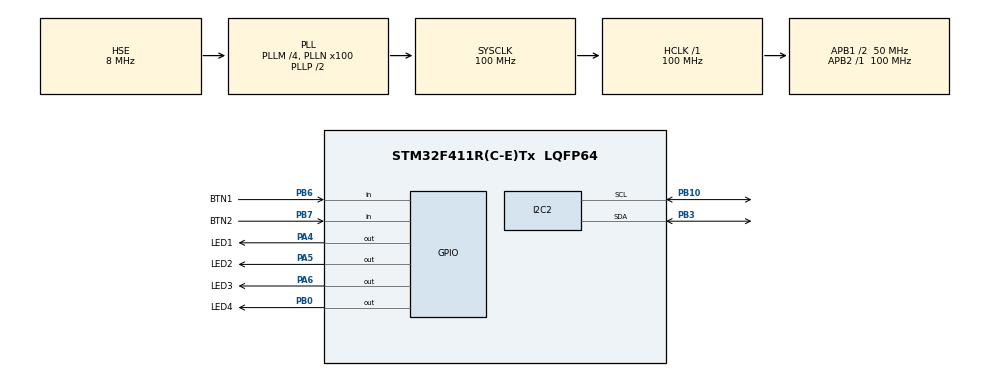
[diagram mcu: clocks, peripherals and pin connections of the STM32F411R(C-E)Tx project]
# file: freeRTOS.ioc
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Dma.I2C2_TX.0.Direction=DMA_MEMORY_TO_PERIPH
Dma.I2C2_TX.0.FIFOMode=DMA_FIFOMODE_DISABLE
Dma.I2C2_TX.0.Instance=DMA1_Stream7
Dma.I2C2_TX.0.MemDataAlignment=DMA_MDATAALIGN_BYTE
Dma.I2C2_TX.0.MemInc=DMA_MINC_ENABLE
Dma.I2C2_TX.0.Mode=DMA_NORMAL
Dma.I2C2_TX.0.PeriphDataAlignment=DMA_PDATAALIGN_BYTE
Dma.I2C2_TX.0.PeriphInc=DMA_PINC_DISABLE
Dma.I2C2_TX.0.Priority=DMA_PRIORITY_LOW
Dma.Request0=I2C2_TX
FREERTOS.INCLUDE_vTaskDelete=1
FREERTOS.Queues01=myQueueBtn,8,uint8_t,0,Dynamic,NULL,NULL
FREERTOS.Tasks01=defaultTask,24,128,StartDefaultTask,Default,NULL,Dynamic,NULL,NULL;myTaskLed500,16,128,StartTaskLed500,Default,NULL,Dynamic,NULL,NULL;myTaskLed250,16,128,StartTaskLed250,Default,NULL,Dynamic,NULL,NULL;myTaskLed100,16,128,StartTaskLed100,Default,NULL,Dynamic,NULL,NULL;myTaskDisplay,16,128,StartTaskDisplay,Default,NULL,Dynamic,NULL,NULL
FREERTOS.Timers01=myTimerMinutes,tmrMinutes,osTimerPeriodic,Default,NULL,Dynamic,NULL;myTimerDisplaySaver,tmrDisplaySaver,osTimerPeriodic,Default,NULL,Dynamic,NULL;myTimerBtnScan,tmrBtnScan,osTimerPeriodic,Default,NULL,Dynamic,NULL
FREERTOS.configENABLE_FPU=1
FREERTOS.configGENERATE_RUN_TIME_STATS=1
FREERTOS.configUSE_IDLE_HOOK=1
FREERTOS.configUSE_STATS_FORMATTING_FUNCTIONS=1
FREERTOS.configUSE_TICK_HOOK=1
Mcu.Family=STM32F4
Mcu.Name=STM32F411R(C-E)Tx
Mcu.Package=LQFP64
NVIC.DMA1_Stream7_IRQn=true\:5\:0\:false\:false\:true\:true\:false\:true\:true
NVIC.I2C2_ER_IRQn=true\:5\:0\:false\:false\:true\:true\:true\:true\:true
NVIC.I2C2_EV_IRQn=true\:5\:0\:false\:false\:true\:true\:true\:true\:true
NVIC.PriorityGroup=NVIC_PRIORITYGROUP_4
NVIC.TIM1_TRG_COM_TIM11_IRQn=true\:15\:0\:false\:false\:true\:false\:false\:true\:true
NVIC.TimeBase=TIM1_TRG_COM_TIM11_IRQn
NVIC.TimeBaseIP=TIM11
PA13.Mode=Serial_Wire
PA13.Signal=SYS_JTMS-SWDIO
PA14.Mode=Serial_Wire
PA14.Signal=SYS_JTCK-SWCLK
PA4.GPIO_Label=LED1
PA4.Signal=GPIO_Output
PA5.GPIO_Label=LED2
PA5.Signal=GPIO_Output
PA6.GPIO_Label=LED3
PA6.Signal=GPIO_Output
PB0.GPIO_Label=LED4
PB0.Signal=GPIO_Output
PB10.Mode=I2C
PB10.Signal=I2C2_SCL
PB3.Mode=I2C
PB3.Signal=I2C2_SDA
PB6.GPIO_Label=BTN1
PB6.Signal=GPIO_Input
PB7.GPIO_Label=BTN2
PB7.Signal=GPIO_Input
PC14-OSC32_IN.Mode=LSE-External-Oscillator
PC14-OSC32_IN.Signal=RCC_OSC32_IN
PC15-OSC32_OUT.Mode=LSE-External-Oscillator
PC15-OSC32_OUT.Signal=RCC_OSC32_OUT
PH0\ -\ OSC_IN.Mode=HSE-External-Oscillator
PH0\ -\ OSC_IN.Signal=RCC_OSC_IN
PH1\ -\ OSC_OUT.Mode=HSE-External-Oscillator
PH1\ -\ OSC_OUT.Signal=RCC_OSC_OUT
ProjectManager.HeapSize=0x200
ProjectManager.StackSize=0x400
ProjectManager.TargetToolchain=EWARM V8.50
RCC.48MHZClocksFreq_Value=50000000
RCC.AHBFreq_Value=100000000
RCC.APB1CLKDivider=RCC_HCLK_DIV2
RCC.APB1Freq_Value=50000000
RCC.APB1TimFreq_Value=100000000
RCC.APB2Freq_Value=100000000
RCC.APB2TimFreq_Value=100000000
RCC.CortexFreq_Value=100000000
RCC.EnbaleCSS=true
RCC.HCLKFreq_Value=100000000
RCC.HSE_VALUE=8000000
RCC.HSI_VALUE=16000000
RCC.PLLM=4
RCC.PLLN=100
RCC.PLLSourceVirtual=RCC_PLLSOURCE_HSE
RCC.RCC_RTC_Clock_Source=RCC_RTCCLKSOURCE_LSE
RCC.RCC_RTC_Clock_SourceVirtual=RCC_RTCCLKSOURCE_LSE
RCC.SYSCLKFreq_VALUE=100000000
RCC.SYSCLKSource=RCC_SYSCLKSOURCE_PLLCLK
RCC.VCOOutputFreq_Value=200000000
RTC.Format=RTC_FORMAT_BIN
VP_FREERTOS_VS_CMSIS_V2.Mode=CMSIS_V2
VP_RTC_VS_RTC_Activate.Mode=RTC_Enabled
VP_RTC_VS_RTC_Calendar.Mode=RTC_Calendar
VP_SYS_VS_tim11.Mode=TIM11
board=custom

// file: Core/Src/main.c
/* USER CODE BEGIN Header */
/**
  ******************************************************************************
  * @file           : main.c
  * @brief          : Main program body
  ******************************************************************************
  * @attention
  *
  * Copyright (c) 2022 STMicroelectronics.
  * All rights reserved.
  *
  * This software is licensed under terms that can be found in the LICENSE file
  * in the root directory of this software component.
  * If no LICENSE file comes with this software, it is provided AS-IS.
  *
  ******************************************************************************
  */
/* USER CODE END Header */
#include "main.h"
#include "cmsis_os.h"

/* USER CODE BEGIN Includes */
#include <stdio.h>	        // ф-ии ввода вывода
#include <string.h> 	        // для работы со строками
#include <math.h>	        // для работы с математическими функциями
#include "SEGGER_RTT.h"	        // библиотека для отладочного RTT вывода через интерфейс отладчика
#include "oled_ssd1306.h"       // драйвер для дисплея SSD1306
#include "gfx_bw.h"             // графическая библиотека для дисплея
#include "fonts.h"              // библиотека преобразования шрифтов в битмап
#include "picture.h"            // для вывода изображений из массивов на дисплей

#include "queue.h"              // работа с очередями freeRTOS
/* USER CODE END Includes */

I2C_HandleTypeDef hi2c2;
DMA_HandleTypeDef hdma_i2c2_tx;

RTC_HandleTypeDef hrtc;

/* Definitions for defaultTask */
osThreadId_t defaultTaskHandle;
const osThreadAttr_t defaultTask_attributes = {
  .name = "defaultTask",
  .stack_size = 128 * 4,
  .priority = (osPriority_t) osPriorityNormal,
};
/* Definitions for myTaskLed500 */
osThreadId_t myTaskLed500Handle;
const osThreadAttr_t myTaskLed500_attributes = {
  .name = "myTaskLed500",
  .stack_size = 128 * 4,
  .priority = (osPriority_t) osPriorityBelowNormal,
};
/* Definitions for myTaskLed250 */
osThreadId_t myTaskLed250Handle;
const osThreadAttr_t myTaskLed250_attributes = {
  .name = "myTaskLed250",
  .stack_size = 128 * 4,
  .priority = (osPriority_t) osPriorityBelowNormal,
};
/* Definitions for myTaskLed100 */
osThreadId_t myTaskLed100Handle;
const osThreadAttr_t myTaskLed100_attributes = {
  .name = "myTaskLed100",
  .stack_size = 128 * 4,
  .priority = (osPriority_t) osPriorityBelowNormal,
};
/* Definitions for myTaskDisplay */
osThreadId_t myTaskDisplayHandle;
const osThreadAttr_t myTaskDisplay_attributes = {
  .name = "myTaskDisplay",
  .stack_size = 128 * 4,
  .priority = (osPriority_t) osPriorityBelowNormal,
};
/* Definitions for myQueueBtn */
osMessageQueueId_t myQueueBtnHandle;
const osMessageQueueAttr_t myQueueBtn_attributes = {
  .name = "myQueueBtn"
};
/* Definitions for myTimerMinutes */
osTimerId_t myTimerMinutesHandle;
const osTimerAttr_t myTimerMinutes_attributes = {
  .name = "myTimerMinutes"
};
/* Definitions for myTimerDisplaySaver */
osTimerId_t myTimerDisplaySaverHandle;
const osTimerAttr_t myTimerDisplaySaver_attributes = {
  .name = "myTimerDisplaySaver"
};
/* Definitions for myTimerBtnScan */
osTimerId_t myTimerBtnScanHandle;
const osTimerAttr_t myTimerBtnScan_attributes = {
  .name = "myTimerBtnScan"
};
/* USER CODE BEGIN PV */
RTC_TimeTypeDef sTime = {0};
RTC_DateTypeDef sDate = {0};

char vTaskListBuf[1024]; // буфер для диспетчера задач
/* USER CODE END PV */

void SystemClock_Config(void);
static void MX_GPIO_Init(void);
static void MX_DMA_Init(void);
static void MX_RTC_Init(void);
static void MX_I2C2_Init(void);
void StartDefaultTask(void *argument);
void StartTaskLed500(void *argument);
void StartTaskLed250(void *argument);
void StartTaskLed100(void *argument);
void StartTaskDisplay(void *argument);
void tmrMinutes(void *argument);
void tmrDisplaySaver(void *argument);
void tmrBtnScan(void *argument);

/* USER CODE BEGIN 0 */
void initOled() // инициализация дисплея SSD1306
{
        // инициализация OLED дисплея
        SSD1306_I2cInit(&hi2c2);
        GFX_SetFont(font_7x5);
        GFX_SetFontSize(1);
        //SSD1306_StartScrollLeftUp(0, 7, SCROLL_EVERY_256_FRAMES, 1);
        //SSD1306_StartScrollLeft(0, 7, SCROLL_EVERY_4_FRAMES);
        //SSD1306_StartBlinking(1); // красивая плавная моргалка яркостью. но уже заебала
        //SSD1306_StartFadeOut(1);
        //SSD1306_ZoomIn(1);
        //SSD1306_InvertColors(1);
        //SSD1306_RotateDisplay(0);
        SSD1306_Clear(BLACK);
        SSD1306_Bitmap((uint8_t*)picture);
        /*
        // прогрессбар
        GFX_DrawRoundRectangle(32, 16, 60, 10, 5, WHITE);
        GFX_DrawFillRoundRectangle(32, 16, 30, 10, 5, WHITE);
        // простая надпись
        GFX_DrawString(19,0, "(c) RusikOk", WHITE, BLACK);
        SSD1306_Display();
        */
}
/* USER CODE END 0 */

int main(void)
{

  /* MCU Configuration--------------------------------------------------------*/

  /* Reset of all peripherals, Initializes the Flash interface and the Systick. */
  HAL_Init();

  /* Configure the system clock */
  SystemClock_Config();

  /* Initialize all configured peripherals */
  MX_GPIO_Init();
  MX_DMA_Init();
  MX_RTC_Init();
  MX_I2C2_Init();
  /* USER CODE BEGIN 2 */
        /* ************************************************************************ */
	/* инициализация 						  	    */
	/* ************************************************************************ */
        LOG_START();
        LOGT("\r\n\r\n");
        LOGT(" __________________________________________________\r\n");
        LOGT("(  )                                            (  )\r\n");
        LOGT(" )(   ____  __   __  ____  __  ___ __ _ __  ___  )(\r\n");
        LOGT("(  ) (  _ \\(  ) (  )(  __)(  )(  /(  ) (  )(  / (  )\r\n");
        LOGT(" )(   )   / )(   )(  )_ (  )(  )(  )(   )(  )(   )(\r\n");
        LOGT("(  ) (_)\\_)(__)_(__)(____)(__)(__\\(__)_(__)(__\\ (  )\r\n");
        LOGT(" )(                                              )(\r\n");
        LOGT("(__)____________________________________________(__)\r\n\r\n");
        LOGT("      Compiled version: " __TIME__ " " __DATE__ "\r\n\r\n");

        initOled(); // инициализация OLED дисплея SSD1306
  /* USER CODE END 2 */

  /* Init scheduler */
  osKernelInitialize();

  /* Create the timer(s) */
  /* creation of myTimerMinutes */
  myTimerMinutesHandle = osTimerNew(tmrMinutes, osTimerPeriodic, NULL, &myTimerMinutes_attributes);

  /* creation of myTimerDisplaySaver */
  myTimerDisplaySaverHandle = osTimerNew(tmrDisplaySaver, osTimerPeriodic, NULL, &myTimerDisplaySaver_attributes);

  /* creation of myTimerBtnScan */
  myTimerBtnScanHandle = osTimerNew(tmrBtnScan, osTimerPeriodic, NULL, &myTimerBtnScan_attributes);

  /* USER CODE BEGIN RTOS_TIMERS */
  /* start timers, add new ones, ... */
  // выставляем периодичность работы таймеров и запускаем их (на самом деле таймеры запустяться после старта шедуллера)
  osTimerStart(myTimerMinutesHandle, 60 * 1000 / portTICK_RATE_MS); // выполнение раз в минуту
  osTimerStart(myTimerDisplaySaverHandle, displaySaverINTERVAL); // выполнение раз в X минут
  osTimerStart(myTimerBtnScanHandle, 10); // выполнение каждые 10 тиков ОС
  /* USER CODE END RTOS_TIMERS */

  /* Create the queue(s) */
  /* creation of myQueueBtn */
  myQueueBtnHandle = osMessageQueueNew (8, sizeof(uint8_t), &myQueueBtn_attributes);

  /* Create the thread(s) */
  /* creation of defaultTask */
  defaultTaskHandle = osThreadNew(StartDefaultTask, NULL, &defaultTask_attributes);

  /* creation of myTaskLed500 */
  myTaskLed500Handle = osThreadNew(StartTaskLed500, NULL, &myTaskLed500_attributes);

  /* creation of myTaskLed250 */
  myTaskLed250Handle = osThreadNew(StartTaskLed250, NULL, &myTaskLed250_attributes);

  /* creation of myTaskLed100 */
  myTaskLed100Handle = osThreadNew(StartTaskLed100, NULL, &myTaskLed100_attributes);

  /* creation of myTaskDisplay */
  myTaskDisplayHandle = osThreadNew(StartTaskDisplay, NULL, &myTaskDisplay_attributes);

  /* Start scheduler */
  osKernelStart();

  /* We should never get here as control is now taken by the scheduler */
  /* Infinite loop */
  while (1)
  {

  }
}

void SystemClock_Config(void)
{
  RCC_OscInitTypeDef RCC_OscInitStruct = {0};
  RCC_ClkInitTypeDef RCC_ClkInitStruct = {0};

  /** Configure the main internal regulator output voltage
  */
  __HAL_RCC_PWR_CLK_ENABLE();
  __HAL_PWR_VOLTAGESCALING_CONFIG(PWR_REGULATOR_VOLTAGE_SCALE1);

  /** Initializes the RCC Oscillators according to the specified parameters
  * in the RCC_OscInitTypeDef structure.
  */
  RCC_OscInitStruct.OscillatorType = RCC_OSCILLATORTYPE_HSE|RCC_OSCILLATORTYPE_LSE;
  RCC_OscInitStruct.HSEState = RCC_HSE_ON;
  RCC_OscInitStruct.LSEState = RCC_LSE_ON;
  RCC_OscInitStruct.PLL.PLLState = RCC_PLL_ON;
  RCC_OscInitStruct.PLL.PLLSource = RCC_PLLSOURCE_HSE;
  RCC_OscInitStruct.PLL.PLLM = 4;
  RCC_OscInitStruct.PLL.PLLN = 100;
  RCC_OscInitStruct.PLL.PLLP = RCC_PLLP_DIV2;
  RCC_OscInitStruct.PLL.PLLQ = 4;
  if (HAL_RCC_OscConfig(&RCC_OscInitStruct) != HAL_OK)
  {
    Error_Handler();
  }

  /** Initializes the CPU, AHB and APB buses clocks
  */
  RCC_ClkInitStruct.ClockType = RCC_CLOCKTYPE_HCLK|RCC_CLOCKTYPE_SYSCLK
                              |RCC_CLOCKTYPE_PCLK1|RCC_CLOCKTYPE_PCLK2;
  RCC_ClkInitStruct.SYSCLKSource = RCC_SYSCLKSOURCE_PLLCLK;
  RCC_ClkInitStruct.AHBCLKDivider = RCC_SYSCLK_DIV1;
  RCC_ClkInitStruct.APB1CLKDivider = RCC_HCLK_DIV2;
  RCC_ClkInitStruct.APB2CLKDivider = RCC_HCLK_DIV1;

  if (HAL_RCC_ClockConfig(&RCC_ClkInitStruct, FLASH_LATENCY_3) != HAL_OK)
  {
    Error_Handler();
  }

  /** Enables the Clock Security System
  */
  HAL_RCC_EnableCSS();
}

static void MX_I2C2_Init(void)
{

  hi2c2.Instance = I2C2;
  hi2c2.Init.ClockSpeed = 100000;
  hi2c2.Init.DutyCycle = I2C_DUTYCYCLE_2;
  hi2c2.Init.OwnAddress1 = 0;
  hi2c2.Init.AddressingMode = I2C_ADDRESSINGMODE_7BIT;
  hi2c2.Init.DualAddressMode = I2C_DUALADDRESS_DISABLE;
  hi2c2.Init.OwnAddress2 = 0;
  hi2c2.Init.GeneralCallMode = I2C_GENERALCALL_DISABLE;
  hi2c2.Init.NoStretchMode = I2C_NOSTRETCH_DISABLE;
  if (HAL_I2C_Init(&hi2c2) != HAL_OK)
  {
    Error_Handler();
  }

}

static void MX_RTC_Init(void)
{

  RTC_TimeTypeDef sTime = {0};
  RTC_DateTypeDef sDate = {0};

  /** Initialize RTC Only
  */
  hrtc.Instance = RTC;
  hrtc.Init.HourFormat = RTC_HOURFORMAT_24;
  hrtc.Init.AsynchPrediv = 127;
  hrtc.Init.SynchPrediv = 255;
  hrtc.Init.OutPut = RTC_OUTPUT_DISABLE;
  hrtc.Init.OutPutPolarity = RTC_OUTPUT_POLARITY_HIGH;
  hrtc.Init.OutPutType = RTC_OUTPUT_TYPE_OPENDRAIN;
  if (HAL_RTC_Init(&hrtc) != HAL_OK)
  {
    Error_Handler();
  }

  /** Initialize RTC and set the Time and Date
  */
  sTime.Hours = 0;
  sTime.Minutes = 0;
  sTime.Seconds = 0;
  sTime.DayLightSaving = RTC_DAYLIGHTSAVING_NONE;
  sTime.StoreOperation = RTC_STOREOPERATION_RESET;
  if (HAL_RTC_SetTime(&hrtc, &sTime, RTC_FORMAT_BIN) != HAL_OK)
  {
    Error_Handler();
  }
  sDate.WeekDay = RTC_WEEKDAY_MONDAY;
  sDate.Month = RTC_MONTH_JANUARY;
  sDate.Date = 1;
  sDate.Year = 0;

  if (HAL_RTC_SetDate(&hrtc, &sDate, RTC_FORMAT_BIN) != HAL_OK)
  {
    Error_Handler();
  }

}

static void MX_DMA_Init(void)
{

  /* DMA controller clock enable */
  __HAL_RCC_DMA1_CLK_ENABLE();

  /* DMA interrupt init */
  /* DMA1_Stream7_IRQn interrupt configuration */
  HAL_NVIC_SetPriority(DMA1_Stream7_IRQn, 5, 0);
  HAL_NVIC_EnableIRQ(DMA1_Stream7_IRQn);

}

static void MX_GPIO_Init(void)
{
  GPIO_InitTypeDef GPIO_InitStruct = {0};

  /* GPIO Ports Clock Enable */
  __HAL_RCC_GPIOC_CLK_ENABLE();
  __HAL_RCC_GPIOH_CLK_ENABLE();
  __HAL_RCC_GPIOA_CLK_ENABLE();
  __HAL_RCC_GPIOB_CLK_ENABLE();

  /*Configure GPIO pin Output Level */
  HAL_GPIO_WritePin(GPIOA, LED1_Pin|LED2_Pin|LED3_Pin, GPIO_PIN_RESET);

  /*Configure GPIO pin Output Level */
  HAL_GPIO_WritePin(LED4_GPIO_Port, LED4_Pin, GPIO_PIN_RESET);

  /*Configure GPIO pins : LED1_Pin LED2_Pin LED3_Pin */
  GPIO_InitStruct.Pin = LED1_Pin|LED2_Pin|LED3_Pin;
  GPIO_InitStruct.Mode = GPIO_MODE_OUTPUT_PP;
  GPIO_InitStruct.Pull = GPIO_NOPULL;
  GPIO_InitStruct.Speed = GPIO_SPEED_FREQ_LOW;
  HAL_GPIO_Init(GPIOA, &GPIO_InitStruct);

  /*Configure GPIO pin : LED4_Pin */
  GPIO_InitStruct.Pin = LED4_Pin;
  GPIO_InitStruct.Mode = GPIO_MODE_OUTPUT_PP;
  GPIO_InitStruct.Pull = GPIO_NOPULL;
  GPIO_InitStruct.Speed = GPIO_SPEED_FREQ_LOW;
  HAL_GPIO_Init(LED4_GPIO_Port, &GPIO_InitStruct);

  /*Configure GPIO pins : BTN1_Pin BTN2_Pin */
  GPIO_InitStruct.Pin = BTN1_Pin|BTN2_Pin;
  GPIO_InitStruct.Mode = GPIO_MODE_INPUT;
  GPIO_InitStruct.Pull = GPIO_NOPULL;
  HAL_GPIO_Init(GPIOB, &GPIO_InitStruct);

}

void StartDefaultTask(void *argument)
{
  for(;;)
  {
    osDelay(1);
  }
}

void StartTaskLed500(void *argument)
{
  /* USER CODE BEGIN StartTaskLed500 */
  /* Infinite loop */
  for(;;)
  {
    osDelay(500);
    HAL_GPIO_TogglePin(LED1_GPIO_Port, LED1_Pin);
  }
  /* USER CODE END StartTaskLed500 */
}

void StartTaskLed250(void *argument)
{
  /* USER CODE BEGIN StartTaskLed250 */
  /* Infinite loop */
  for(;;)
  {
    osDelay(250);
    HAL_GPIO_TogglePin(LED2_GPIO_Port, LED2_Pin);
  }
  /* USER CODE END StartTaskLed250 */
}

void StartTaskLed100(void *argument)
{
  /* USER CODE BEGIN StartTaskLed100 */
  /* Infinite loop */
  for(;;)
  {
    osDelay(100);
    HAL_GPIO_TogglePin(LED3_GPIO_Port, LED3_Pin);
  }
  /* USER CODE END StartTaskLed100 */
}

void StartTaskDisplay(void *argument)
{
  /* USER CODE BEGIN StartTaskDisplay */
        uint8_t btnCounter = 0;
        /* Infinite loop */
        for(;;)
        {
                uint8_t tick; // для чтения из очереди данных
                //osMessageQueueGet(myQueueBtnHandle,
                xQueueReceive(myQueueBtnHandle, &tick, portMAX_DELAY); // блокируем поток до появления данных в очереди
                if(tick < 100) // определяем короткое нажатие на кнопку
                        btnCounter++;
                if(tick > 100) // определяем длинное нажатие на кнопку
                        btnCounter++;

                // селектор вывода данных на дисплей
                switch(btnCounter)
                {
                case 0:
                case 1:
                        SSD1306_Bitmap((uint8_t*)gerb);
                        break;
                case 2:
                        SSD1306_Bitmap((uint8_t*)telka);
                        break;
                case 3:
                        SSD1306_Bitmap((uint8_t*)my2);
                        break;
                case 4:
                        SSD1306_Bitmap((uint8_t*)Wait);
                        break;
                case 5:
                        // простая надпись
                        SSD1306_Clear(BLACK);
                        GFX_DrawString(0, 0, "(c) RusikOk", WHITE, BLACK);
                        SSD1306_Display();
                        break;
                case 6:
                        // вывод данных от диспетчера ОС
                        LOG(vTaskListBuf);
                        SSD1306_Clear(BLACK);
                        GFX_DrawString(0, 0, vTaskListBuf, WHITE, BLACK);
                        GFX_DrawString(0, 8, vTaskListBuf+26, WHITE, BLACK);
                        GFX_DrawString(0, 16, vTaskListBuf+53, WHITE, BLACK);
                        GFX_DrawString(0, 24, vTaskListBuf+80, WHITE, BLACK);
                        GFX_DrawString(0, 32, vTaskListBuf+106, WHITE, BLACK);
                        GFX_DrawString(0, 40, vTaskListBuf+133, WHITE, BLACK);
                        GFX_DrawString(0, 48, vTaskListBuf+160, WHITE, BLACK);
                        SSD1306_Display();
                        break;
                case 7:
                        // простая надпись
                        SSD1306_Clear(BLACK);
                        GFX_DrawString(0, 8, "CPU usage: ", WHITE, BLACK);
                        //osGetCPUUsage

                        SSD1306_Display();

                        // сбрасываем счетчик нажатий кнопки для новой итерации перебора пунктов меню
                        btnCounter = 0;
                }
        }
  /* USER CODE END StartTaskDisplay */
}

/* tmrMinutes function */
void tmrMinutes(void *argument)
{
  /* USER CODE BEGIN tmrMinutes */
        /* ******************************************************************** */
	/* определяем текущее дату/время					*/
  	/* ******************************************************************** */
        if(HAL_RTC_GetTime(&hrtc, &sTime, RTC_FORMAT_BIN) != HAL_OK)
                Error_Handler();
        if(HAL_RTC_GetDate(&hrtc, &sDate, RTC_FORMAT_BIN) != HAL_OK)
                Error_Handler();

        /* ******************************************************************** */
	/* выполняем некоторые периодические действия				*/
	/* ******************************************************************** */
	/*if(((sTime.Hours % 1) == 0) && ((sTime.Minutes % 1) == 0)) // раз 5 минут
		sendData = true; // устанавливаем флаг отправки данных на сервер
	if((sTime.Hours == 4) && (sTime.Minutes == 45))
                devStat(); // отправляем на сервер данные статистики наработки прибора
	if(((sTime.Hours % 1) == 0) && ((sTime.Minutes % 5) == 0)) // каждые 5 минут
	  	if(mode == MODE_WIFI)
	  		csq = esp_csq(ssid); // запрашиваем у модуля уровень сигнала*/
  /* USER CODE END tmrMinutes */
}

/* tmrDisplaySaver function */
void tmrDisplaySaver(void *argument)
{
  /* USER CODE BEGIN tmrDisplaySaver */
        static uint8_t y = 0;
        osTimerStart(myTimerDisplaySaverHandle, 1000 / portTICK_RATE_MS); // раз уж попали сюда, то меняем интервал таймера для наглядности анимации хранителя экрана. раз в секунду
        SSD1306_Clear(BLACK); // очистка экрана
        SSD1306_DrawPixel(SSD1306_LCDWIDTH - 1, y++, WHITE); // формируем точку
        SSD1306_Display(); // передаем буфер на дисплей
        if(y > SSD1306_LCDHEIGHT - 2)
                y = 0;
  /* USER CODE END tmrDisplaySaver */
}

/* tmrBtnScan function */
void tmrBtnScan(void *argument)
{
  /* USER CODE BEGIN tmrBtnScan */
        static uint8_t tick = 0; // счетчик тиков при нажатой кнопке
        if(BTN1_PRESSED()) // ждем нажатия на кнопку
        {
                tick++; // считаем сколько тактов кнопка будет нажата
        }
        else if(tick > 0)
        {
                osTimerStart(myTimerDisplaySaverHandle, displaySaverINTERVAL); // сбрасываем таймер, xTimerReset не завезли(
                //xQueueSend(myQueueBtnHandle, &tick, 0); // отправляем в очередь время нажатия кнопки
                osMessageQueuePut(myQueueBtnHandle, &tick, NULL, 0); // отправляем в очередь время нажатия кнопки
                tick = 0; // сбрасываем счетчик
        }
  /* USER CODE END tmrBtnScan */
}

void HAL_TIM_PeriodElapsedCallback(TIM_HandleTypeDef *htim)
{
  if (htim->Instance == TIM11) {
    HAL_IncTick();
  }
}

void Error_Handler(void)
{
  /* USER CODE BEGIN Error_Handler_Debug */
        LOG_HALERROR();
  /* User can add his own implementation to report the HAL error return state */
  __disable_irq();
  while (1)
  {
  }
  /* USER CODE END Error_Handler_Debug */
}

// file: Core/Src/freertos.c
/* USER CODE BEGIN Header */
/**
  ******************************************************************************
  * File Name          : freertos.c
  * Description        : Code for freertos applications
  ******************************************************************************
  * @attention
  *
  * Copyright (c) 2022 STMicroelectronics.
  * All rights reserved.
  *
  * This software is licensed under terms that can be found in the LICENSE file
  * in the root directory of this software component.
  * If no LICENSE file comes with this software, it is provided AS-IS.
  *
  ******************************************************************************
  */
/* USER CODE END Header */

#include "FreeRTOS.h"
#include "task.h"
#include "main.h"

/* USER CODE BEGIN Variables */
extern char vTaskListBuf[1024]; // буфер для диспетчера задач
/* USER CODE END Variables */

/* Hook prototypes */
void vApplicationIdleHook(void);

/* USER CODE BEGIN 2 */
void vApplicationIdleHook( void )
{
   /* vApplicationIdleHook() will only be called if configUSE_IDLE_HOOK is set
   to 1 in FreeRTOSConfig.h. It will be called on each iteration of the idle
   task. It is essential that code added to this hook function never attempts
   to block in any way (for example, call xQueueReceive() with a block time
   specified, or call vTaskDelay()). If the application makes use of the
   vTaskDelete() API function (as this demo application does) then it is also
   important that vApplicationIdleHook() is permitted to return to its calling
   function, because it is the responsibility of the idle task to clean up
   memory allocated by the kernel to any task that has since been deleted. */
        LED4_TOG(); // моргаем светодиодом
        //xPortGetFreeHeapSize(); // объем доступной для выделения свободной памяти кучи. доступно для heap_1 и heap_2
        //vTaskGetRunTimeStats(vTaskListBuf);
        vTaskList(vTaskListBuf); // получаем список потоков OS
        //LOG(vTaskListBuf);

}
/* USER CODE END 2 */
